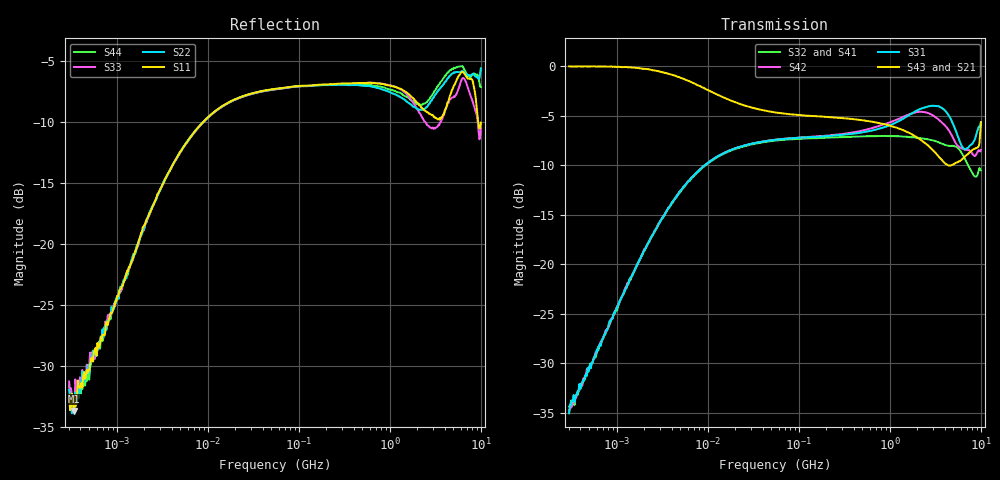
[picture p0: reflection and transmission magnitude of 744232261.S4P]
! This data is being provided by Wuerth Elektronik eiSos GmbH & Co. KG to the industry for analysis.
! Document information:
! Version:rev19a Date: 16/12/2019
! Component information:
! Match Code: WE-CNSW P/N: 744232261 Size: 1206
! Disclaimer:  While Würth Elektronik eiSos has made every reasonable effort to ensure the accuracy
! of the information provided, Würth Elektronik eiSos does not guarantee the exemption of error on the
! data collection measurements, nor does Würth Elektronik eiSos guarantee that the information is current.
! Würth Elektronik eiSos reserves the right to make any adjustments at any time without notice.
! Würth Elektronik eiSos expressly disclaims all implied warranties regarding this measurement data collection.
! Note 1  This data measurement is representative according to the product implementation into the fixture.
! Component behavior is sensitive to implementation into the fixture, which includes board
! materials, trace geometry information, connector pin out, layer connection, use of de-embedding
! techniques, etc.
! Note 2 - The fixture was designed specifically to match the 50 Ohm line impedance, as well as the connector impedance,
! in order to accomplish a reliable measurement without reflections in the trace. Any other implementation of the fixture will change the obtained
! measurement performance. The used fixture behavior was de-embedded to accomplish reliable measurement results.
! The test setup consisted of the following:
!  - Agilent VNA E5071C or E5071B
!  - Calibrations are SOLT (short open load thru)
!  - De-embedding of the SMA's or line cards were included
!  - Equipment Settings -
!  - Sampling - 501 points
!  - IF BW  70 kHz
!  - Averaging  Not used
!  Port 1----->|1|  |2| -----> Port 3
!  |  DUT  |
!  Port 2----->|3|  |4| -----> Port 4
!*VNA Port --> |Port in Datasheet|
! |Port in Datasheet| --> VNA Port
! For further information regarding this testing, please contact
! Wuerth Elektronik eiSos
! Contact: EDA team in QDC
! Email: libraries@we-online.com or libraries@we-online.de
# Hz S dB R 50
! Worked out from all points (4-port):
!   501 points, 300 kHz to 10 GHz, reference 50 ohm
!   strongest paths, dB at 300 kHz, 4.054 MHz, 54.77 MHz, 740.1 MHz, 10 GHz:
!     S43: 0.0, -0.9, -4.7, -5.7, -5.6
!     S21: 0.0, -0.9, -4.7, -5.6, -5.8
!     S31: -35.0, -13.7, -7.4, -6.3, -5.7
!     S42: -34.8, -13.8, -7.4, -6.1, -8.4
!     S32: -34.4, -13.8, -7.5, -7.0, -10.5
!     S41: -35.1, -13.8, -7.5, -7.0, -8.7
!   lowest |S11| = -33.7 dB at 336.7 kHz (marker M1), VSWR 1.04, Z = 50.1 + j2.07 ohm
!   |S11| at or under -10 dB: start of sweep to 8.897 MHz; 9.348 GHz to end of sweep
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300000  -32.39 84.0  -0.02 -1.0  -35.10 83.2  -35.05 -93.9
        -0.03 -1.2  -31.95 96.7  -34.77 -94.0  -34.85 87.5
        -35.04 86.5  -34.36 -91.4  -31.27 96.3  -0.02 -1.2
        -35.14 -89.9  -34.76 86.6  -0.01 -1.2  -31.64 98.6
336674  -33.67 86.0  -0.04 -1.1  -33.90 84.4  -34.32 -93.7
        -0.04 -1.1  -33.16 78.9  -33.73 -96.7  -33.84 89.1
        -33.19 87.6  -33.62 -95.1  -32.59 89.3  -0.03 -1.3
        -33.68 -89.6  -34.01 87.8  -0.04 -1.1  -32.66 96.4
1.210821e7  -9.10 30.9  -2.78 -14.9  -9.23 31.4  -9.29 -149.3
            -2.79 -14.8  -9.11 30.7  -9.30 -149.4  -9.22 31.5
            -9.24 31.4  -9.31 -149.3  -9.13 30.9  -2.77 -14.8
            -9.30 -149.3  -9.22 31.5  -2.77 -14.8  -9.14 31.0
6.34169e8  -6.80 -7.7  -5.55 -30.8  -6.49 3.7  -6.98 150.6
           -5.56 -30.8  -7.10 -7.3  -7.05 149.7  -6.25 2.8
           -6.50 3.8  -7.06 149.6  -6.79 -9.1  -5.60 -30.6
           -6.99 150.6  -6.26 2.8  -5.59 -30.6  -6.99 -6.6
3.836146e9  -9.40 -14.7  -9.34 -168.6  -4.29 -34.9  -7.87 14.4
            -9.35 -168.4  -6.96 -11.8  -7.84 13.7  -5.80 -40.8
            -4.30 -34.8  -7.86 13.7  -9.54 -14.9  -9.61 -166.7
            -7.87 14.3  -5.79 -40.9  -9.59 -166.9  -6.45 -10.5
6.777464e9  -6.18 -54.9  -8.64 68.7  -8.39 -50.3  -9.51 -89.4
            -8.63 68.9  -6.02 -50.9  -9.48 -87.4  -8.44 -58.1
            -8.38 -50.0  -9.49 -87.3  -6.65 -52.6  -9.06 68.1
            -9.51 -89.5  -8.43 -58.2  -9.05 67.8  -5.87 -47.7
1e10  -10.05 -94.3  -5.81 -31.1  -5.62 -75.5  -8.70 118.5
      -5.79 -31.0  -5.61 -68.0  -10.50 120.5  -8.44 -95.2
      -5.66 -75.3  -10.51 120.7  -10.55 -64.1  -5.72 -25.5
      -8.70 118.5  -8.45 -95.4  -5.64 -25.6  -7.14 -68.8
